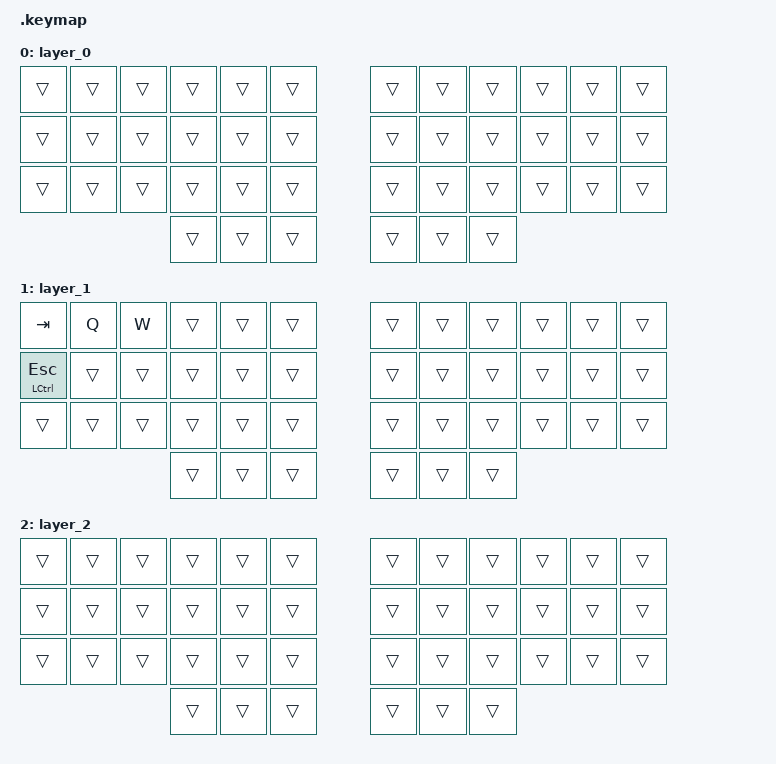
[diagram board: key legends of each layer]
/ {
  keymap {
    compatible = zmk,keymap;
  };
};

#include <behaviors.dtsi>
#include <dt-bindings/zmk/keys.h>

/ {
    keymap {
        compatible = "zmk,keymap";

        layer_0 {
            bindings = <
&trans  &trans  &trans  &trans  &trans  &trans    &trans  &trans  &trans  &trans  &trans  &trans
&trans  &trans  &trans  &trans  &trans  &trans    &trans  &trans  &trans  &trans  &trans  &trans
&trans  &trans  &trans  &trans  &trans  &trans    &trans  &trans  &trans  &trans  &trans  &trans
                        &trans  &trans  &trans    &trans  &trans  &trans
            >;
        };

        layer_1 {
            bindings = <
&kp TAB        &kp Q   &kp W   &trans  &trans  &trans    &trans  &trans  &trans  &trans  &trans  &trans
&mt LCTRL ESC  &trans  &trans  &trans  &trans  &trans    &trans  &trans  &trans  &trans  &trans  &trans
&trans         &trans  &trans  &trans  &trans  &trans    &trans  &trans  &trans  &trans  &trans  &trans
                               &trans  &trans  &trans    &trans  &trans  &trans
            >;
        };

        layer_2 {
            bindings = <
&trans  &trans  &trans  &trans  &trans  &trans    &trans  &trans  &trans  &trans  &trans  &trans
&trans  &trans  &trans  &trans  &trans  &trans    &trans  &trans  &trans  &trans  &trans  &trans
&trans  &trans  &trans  &trans  &trans  &trans    &trans  &trans  &trans  &trans  &trans  &trans
                        &trans  &trans  &trans    &trans  &trans  &trans
            >;
        };
    };
};
